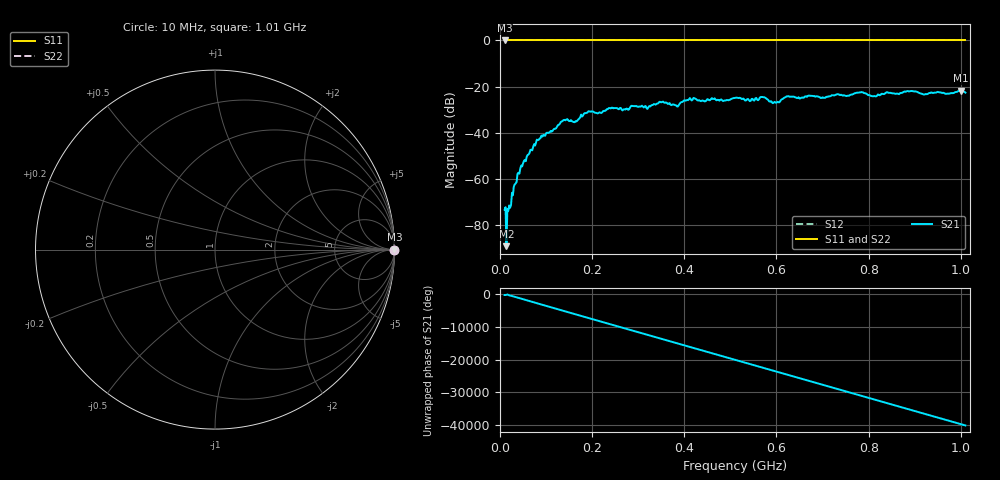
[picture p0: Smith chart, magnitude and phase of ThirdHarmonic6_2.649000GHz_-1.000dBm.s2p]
! 8/17/2025 6:02:10 AM
! C:\ANRITSUVNA\TEMP\TEMP.S2P
! CHANNEL.1
! TR.MEASUREMENT
! RAW.DATA
! RF.CORRECTION.OFF
! AVERAGING.OFF
! IF.BANDWIDTH: 5KHZ
! SWEEPTYPE:  FREQ.SWEEP(Linear)
! Reference Plane Port Info
! PORT:  PORT1  PORT2
! DISTANCE:  0  m  0  m
! TIME:  0  s  0  s
! PHASE.OFFSET:  0  deg.  0  deg.
! LOSS:  0  dB  0  dB
! REF.LOSS:  0  dB  0  dB
! REF.FREQ:  0  Hz  0  Hz
! Power Info
! POWER:  -20  dBm  -20  dBm
! EFF.POWER:  -20  dBm  -20  dBm
! SOURCE.ATTEN:  0  dB  0  dB
! TEST.ATTEN:  0  dB  0  dB
# GHZ S RI R 50.0
! FREQ.GHZ  S11RE  S11IM  S21RE  S21IM  S12RE  S12IM  S22RE  S22IM
!; PortSelection: Port_12
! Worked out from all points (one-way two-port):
!   501 points, 10 MHz to 1.01 GHz, reference 50 ohm
!   highest |S21| = -21.71 dB at 1 GHz (marker M1); lowest = -89.1 dB at 14 MHz (marker M2)
!   lowest |S11| = 0.0 dB at 10 MHz (marker M3)
!   |S11| at or under -10 dB: nowhere
!   |S22| runs from 0.0 to 0.0 dB; largest |S21 - S12| = 1.1
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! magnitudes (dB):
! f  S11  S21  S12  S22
! 10 MHz  0.0  -73.3  0.0  0.0
! 14 MHz  0.0  -89.1  0.0  0.0
! 18 MHz  0.0  -73.7  0.0  0.0
! 42 MHz  0.0  -57.7  0.0  0.0
! 78 MHz  0.0  -44.3  0.0  0.0
! 136 MHz  0.0  -34.8  0.0  0.0
! 164 MHz  0.0  -34.9  0.0  0.0
! 178 MHz  0.0  -33.0  0.0  0.0
! 240 MHz  0.0  -29.4  0.0  0.0
! 344 MHz  0.0  -27.0  0.0  0.0
! 384 MHz  0.0  -28.5  0.0  0.0
! 410 MHz  0.0  -25.5  0.0  0.0
! 510 MHz  0.0  -24.9  0.0  0.0
! 570 MHz  0.0  -24.5  0.0  0.0
! 596 MHz  0.0  -26.6  0.0  0.0
! 622 MHz  0.0  -24.2  0.0  0.0
! 678 MHz  0.0  -24.0  0.0  0.0
! 784 MHz  0.0  -22.4  0.0  0.0
! 812 MHz  0.0  -24.0  0.0  0.0
! 844 MHz  0.0  -22.7  0.0  0.0
! 1 GHz  0.0  -21.7  0.0  0.0
! 1.01 GHz  0.0  -22.6  0.0  0.0
